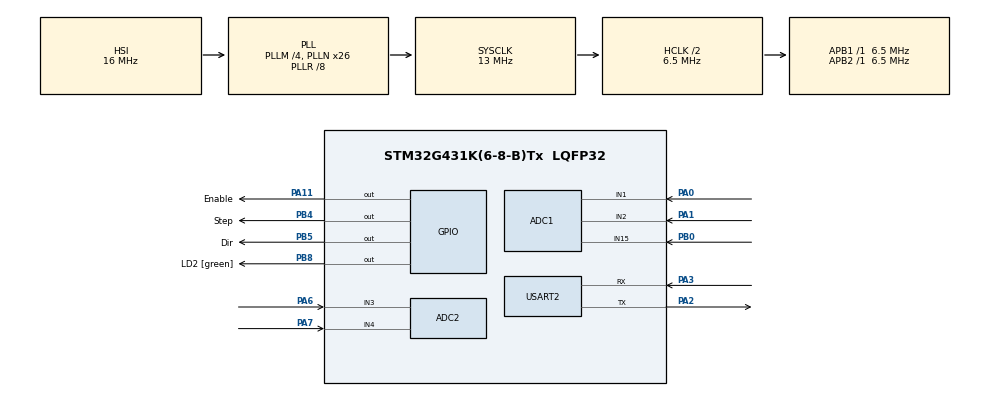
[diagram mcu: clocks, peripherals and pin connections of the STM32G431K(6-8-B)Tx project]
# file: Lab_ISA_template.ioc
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ADC1.Channel-0\#ChannelRegularConversion=ADC_CHANNEL_1
ADC1.Channel-1\#ChannelRegularConversion=ADC_CHANNEL_10
ADC1.Channel-2\#ChannelRegularConversion=ADC_CHANNEL_15
ADC1.ClockPrescaler=ADC_CLOCK_ASYNC_DIV1
ADC1.DMAAccessModeView=ENABLE
ADC1.DMAContinuousRequests=ENABLE
ADC1.ExternalTrigConv=ADC_EXTERNALTRIG_T7_TRGO
ADC1.Mode=ADC_DUALMODE_REGSIMULT
ADC1.NbrOfConversion=3
ADC1.NbrOfConversionFlag=1
ADC1.OffsetNumber-0\#ChannelRegularConversion=ADC_OFFSET_NONE
ADC1.OffsetNumber-1\#ChannelRegularConversion=ADC_OFFSET_NONE
ADC1.OffsetNumber-2\#ChannelRegularConversion=ADC_OFFSET_NONE
ADC1.OversamplingMode=ENABLE
ADC1.Rank-0\#ChannelRegularConversion=1
ADC1.Rank-1\#ChannelRegularConversion=2
ADC1.Rank-2\#ChannelRegularConversion=3
ADC1.Ratio=ADC_OVERSAMPLING_RATIO_8
ADC1.RightBitShift=ADC_RIGHTBITSHIFT_3
ADC1.SamplingTime-0\#ChannelRegularConversion=ADC_SAMPLETIME_640CYCLES_5
ADC1.SamplingTime-1\#ChannelRegularConversion=ADC_SAMPLETIME_640CYCLES_5
ADC1.SamplingTime-2\#ChannelRegularConversion=ADC_SAMPLETIME_640CYCLES_5
ADC1.SingleDiff-0\#ChannelRegularConversion=ADC_DIFFERENTIAL_ENDED
ADC1.master=1
ADC2.Channel-0\#ChannelRegularConversion=ADC_CHANNEL_3
ADC2.Channel-1\#ChannelRegularConversion=ADC_CHANNEL_10
ADC2.Channel-2\#ChannelRegularConversion=ADC_CHANNEL_17
ADC2.ClockPrescaler=ADC_CLOCK_ASYNC_DIV1
ADC2.DMAAccessModeView=ENABLE
ADC2.DMAContinuousRequests=ENABLE
ADC2.Mode=ADC_DUALMODE_REGSIMULT
ADC2.NbrOfConversion=3
ADC2.NbrOfConversionFlag=1
ADC2.OffsetNumber-0\#ChannelRegularConversion=ADC_OFFSET_NONE
ADC2.OffsetNumber-1\#ChannelRegularConversion=ADC_OFFSET_NONE
ADC2.OffsetNumber-2\#ChannelRegularConversion=ADC_OFFSET_NONE
ADC2.OversamplingMode=ENABLE
ADC2.Rank-0\#ChannelRegularConversion=1
ADC2.Rank-1\#ChannelRegularConversion=2
ADC2.Rank-2\#ChannelRegularConversion=3
ADC2.Ratio=ADC_OVERSAMPLING_RATIO_8
ADC2.RightBitShift=ADC_RIGHTBITSHIFT_3
ADC2.SamplingTime-0\#ChannelRegularConversion=ADC_SAMPLETIME_640CYCLES_5
ADC2.SamplingTime-1\#ChannelRegularConversion=ADC_SAMPLETIME_640CYCLES_5
ADC2.SamplingTime-2\#ChannelRegularConversion=ADC_SAMPLETIME_640CYCLES_5
ADC2.SingleDiff-0\#ChannelRegularConversion=ADC_DIFFERENTIAL_ENDED
Dma.ADC1.0.Direction=DMA_PERIPH_TO_MEMORY
Dma.ADC1.0.EventEnable=DISABLE
Dma.ADC1.0.Instance=DMA1_Channel1
Dma.ADC1.0.MemDataAlignment=DMA_MDATAALIGN_WORD
Dma.ADC1.0.MemInc=DMA_MINC_ENABLE
Dma.ADC1.0.Mode=DMA_CIRCULAR
Dma.ADC1.0.PeriphDataAlignment=DMA_PDATAALIGN_WORD
Dma.ADC1.0.PeriphInc=DMA_PINC_DISABLE
Dma.ADC1.0.Polarity=HAL_DMAMUX_REQ_GEN_RISING
Dma.ADC1.0.Priority=DMA_PRIORITY_LOW
Dma.ADC1.0.RequestNumber=1
Dma.ADC1.0.SignalID=NONE
Dma.ADC1.0.SyncEnable=DISABLE
Dma.ADC1.0.SyncPolarity=HAL_DMAMUX_SYNC_NO_EVENT
Dma.ADC1.0.SyncRequestNumber=1
Dma.ADC1.0.SyncSignalID=NONE
Dma.ADC2.1.Direction=DMA_PERIPH_TO_MEMORY
Dma.ADC2.1.EventEnable=DISABLE
Dma.ADC2.1.Instance=DMA1_Channel2
Dma.ADC2.1.MemDataAlignment=DMA_MDATAALIGN_WORD
Dma.ADC2.1.MemInc=DMA_MINC_ENABLE
Dma.ADC2.1.Mode=DMA_CIRCULAR
Dma.ADC2.1.PeriphDataAlignment=DMA_PDATAALIGN_WORD
Dma.ADC2.1.PeriphInc=DMA_PINC_DISABLE
Dma.ADC2.1.Polarity=HAL_DMAMUX_REQ_GEN_RISING
Dma.ADC2.1.Priority=DMA_PRIORITY_LOW
Dma.ADC2.1.RequestNumber=1
Dma.ADC2.1.SignalID=NONE
Dma.ADC2.1.SyncEnable=DISABLE
Dma.ADC2.1.SyncPolarity=HAL_DMAMUX_SYNC_NO_EVENT
Dma.ADC2.1.SyncRequestNumber=1
Dma.ADC2.1.SyncSignalID=NONE
Dma.Request0=ADC1
Dma.Request1=ADC2
Mcu.Family=STM32G4
Mcu.Name=STM32G431K(6-8-B)Tx
Mcu.Package=LQFP32
NVIC.ADC1_2_IRQn=true\:0\:0\:false\:false\:true\:true\:true\:true
NVIC.DMA1_Channel1_IRQn=true\:0\:0\:false\:false\:true\:false\:true\:true
NVIC.DMA1_Channel2_IRQn=true\:0\:0\:false\:false\:true\:false\:true\:true
NVIC.PriorityGroup=NVIC_PRIORITYGROUP_4
NVIC.TIM1_TRG_COM_TIM17_IRQn=true\:0\:0\:false\:false\:true\:true\:true\:true
NVIC.TIM4_IRQn=true\:0\:0\:false\:false\:true\:true\:true\:true
NVIC.TIM6_DAC_IRQn=true\:0\:0\:false\:false\:true\:true\:true\:true
NVIC.TIM7_IRQn=true\:0\:0\:false\:false\:true\:true\:true\:true
NVIC.USART2_IRQn=true\:0\:0\:false\:false\:true\:true\:true\:true
PA0.Mode=IN1-Differential
PA0.Signal=ADC1_IN1
PA1.Mode=IN1-Differential
PA1.Signal=ADC1_IN2
PA11.GPIO_Label=Enable
PA11.Signal=GPIO_Output
PA13.GPIO_Label=T_SWDIO
PA13.Mode=Serial_Wire
PA13.Signal=SYS_JTMS-SWDIO
PA14.GPIO_Label=T_SWCLK
PA14.Mode=Serial_Wire
PA14.Signal=SYS_JTCK-SWCLK
PA2.Mode=Asynchronous
PA2.Signal=USART2_TX
PA3.Mode=Asynchronous
PA3.Signal=USART2_RX
PA6.Mode=IN3-Differential
PA6.Signal=ADC2_IN3
PA7.Mode=IN3-Differential
PA7.Signal=ADC2_IN4
PB0.Mode=IN15-Single-Ended
PB0.Signal=ADC1_IN15
PB4.GPIO_Label=Step
PB4.Signal=GPIO_Output
PB5.GPIO_Label=Dir
PB5.Signal=GPIO_Output
PB8-BOOT0.GPIO_Label=LD2 [green]
PB8-BOOT0.Signal=GPIO_Output
ProjectManager.HeapSize=0x200
ProjectManager.StackSize=0x400
ProjectManager.TargetToolchain=CMake
RCC.ADC12CLockSelection=RCC_ADC12CLKSOURCE_PLL
RCC.ADC12Freq_Value=52000000
RCC.AHBCLKDivider=RCC_SYSCLK_DIV2
RCC.AHBFreq_Value=6500000
RCC.APB1Freq_Value=6500000
RCC.APB1TimFreq_Value=6500000
RCC.APB2Freq_Value=6500000
RCC.APB2TimFreq_Value=6500000
RCC.CortexFreq_Value=6500000
RCC.EXTERNAL_CLOCK_VALUE=12288000
RCC.FDCANCLockSelection=RCC_FDCANCLKSOURCE_PLL
RCC.HCLKFreq_Value=6500000
RCC.HSE_VALUE=8000000
RCC.HSI48_VALUE=48000000
RCC.HSI_VALUE=16000000
RCC.LSE_VALUE=32768
RCC.PLLM=RCC_PLLM_DIV4
RCC.PLLN=26
RCC.PLLQ=RCC_PLLQ_DIV8
RCC.PLLR=RCC_PLLR_DIV8
RCC.PWR_Regulator_Voltage_Scale=PWR_REGULATOR_VOLTAGE_SCALE1
RCC.SYSCLKFreq_VALUE=13000000
RCC.SYSCLKSource=RCC_SYSCLKSOURCE_PLLCLK
RCC.USBFreq_Value=13000000
RCC.VCOOutputFreq_Value=104000000
TIM17.PeriodNoDither=300-1
TIM17.Prescaler=10-1
TIM4.PeriodNoDither=2000-1
TIM4.Prescaler=650-1
TIM7.PeriodNoDither=10000-1
TIM7.Prescaler=13-1
TIM7.TIM_MasterOutputTrigger=TIM_TRGO_UPDATE
USART2.VirtualMode-Asynchronous=VM_ASYNC
VP_SYS_VS_DBSignals.Mode=DisableDeadBatterySignals
VP_TIM17_VS_ClockSourceINT.Mode=Enable_Timer
VP_TIM4_VS_ClockSourceINT.Mode=Internal
VP_TIM6_VS_ClockSourceINT.Mode=Enable_Timer
VP_TIM7_VS_ClockSourceINT.Mode=Enable_Timer
board=NUCLEO-G431KB

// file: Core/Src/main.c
/* USER CODE BEGIN Header */
/**
  ******************************************************************************
  * @file           : main.c
  * @brief          : Main program body
  ******************************************************************************
  * @attention
  *
  * <h2><center>&copy; Copyright (c) 2022 STMicroelectronics.
  * All rights reserved.</center></h2>
  *
  * This software component is licensed by ST under BSD 3-Clause license,
  * the "License"; You may not use this file except in compliance with the
  * License. You may obtain a copy of the License at:
  *                        opensource.org/licenses/BSD-3-Clause
  *
  ******************************************************************************
   	PROJECT: 	Laboratory - ISA template
	Author:		Prof. Dr. Jannis Kreß
	ECU:		STM32 NUCLEO-G431KB
	Version:	1

    Info: After initialization of Peripherals the core is set to sleep mode.
	HAL_ADC_ConvCpltCallback is called when new data is available to be processed.
	Processing of Sensor-Values will be done in this Handler (no active main loop)
  */

/* USER CODE END Header */
#include "main.h"

/* USER CODE BEGIN Includes */
#include "math.h"		// for use of standard math functions
#include "stdlib.h"		// for use of abs() function
#include "stdbool.h"	// for use of true/false states
#include "string.h"
#include "stdio.h"
#include "SEGGER_RTT.h"
/* USER CODE END Includes */

/* USER CODE BEGIN PTD */

enum StepperMode {
	MODE_IDLE = 0,
	MODE_VELOCITY,
	MODE_POSITION
};

struct StepperState {
	enum StepperMode mode;
	int32_t current_pos;        // microsteps from calibrated zero
	float motor_angle_deg;      // derived from current_pos
	float amr_angle_deg;        // from AMR sensor
	float target_angle_deg;     // position mode target
	int32_t steps_remaining;    // position mode: steps left to go
	int32_t steps_total;        // position mode: total steps for this move (for ramp calc)
	int16_t velocity_pct;       // velocity %*100, range +-10000
	uint16_t current_arr;       // current timer ARR value
	bool enabled;               // motor driver enabled
	bool calibrated;            // zero calibration done
	int8_t direction;           // +1 or -1
};

/* UART RX ring buffer */
#define UART_RX_BUF_SIZE 128
struct UartRxBuf {
	uint8_t data[UART_RX_BUF_SIZE];
	volatile uint16_t head;
	volatile uint16_t tail;
	volatile bool ring_overflow;
	volatile uint32_t error_code;
};

/* UART TX buffer */
#define UART_TX_BUF_SIZE 256

/* USER CODE END PTD */

/* USER CODE BEGIN PD */

#define RAD_TO_DEG (180.0f / M_PI)

/* Stepper motor constants */
#define STEP_ANGLE_DEG       1.8f
#define MICROSTEP_FACTOR     64
#define STEPS_PER_REV        (uint32_t)((360.0f / STEP_ANGLE_DEG) * MICROSTEP_FACTOR)  // 12800
#define DEG_PER_MICROSTEP    (360.0f / STEPS_PER_REV)

#define F_TIMER              650000UL   // Timer 17 counter frequency after prescaler
#define ARR_DEFAULT          299
#define ARR_MIN              10         // max speed clamp
#define ARR_MAX              65535      // min speed (16-bit limit)
#define MAX_SPEED_RPS        1.5f       // motor spec limit

/* Position mode ramp */
#define RAMP_MIN_STEPS       100        // minimum steps before starting decel
#define RAMP_START_ARR       3000       // slow start ARR
#define RAMP_CRUISE_ARR      299        // full speed ARR
#define RAMP_ACCEL_STEPS     200        // steps over which to accelerate

/* Valid angle range */
#define ANGLE_MIN_DEG        2.0f
#define ANGLE_MAX_DEG        178.0f
#define POSITION_MIN_STEPS   ((int32_t)(ANGLE_MIN_DEG / DEG_PER_MICROSTEP))
#define POSITION_MAX_STEPS   ((int32_t)(ANGLE_MAX_DEG / DEG_PER_MICROSTEP))

/* UART protocol */
#define CMD_HEADER           "|SuA|"
#define CMD_HEADER_LEN       5
#define CMD_MODE_INDEX       CMD_HEADER_LEN
#define CMD_ARG_START_INDEX  (CMD_HEADER_LEN + 2)

/* Telemetry rate: send every N ADC callbacks (~500 Hz ADC → 25 Hz telemetry at divisor 20) */
#define TELEMETRY_DIVISOR    20

/* USER CODE END PD */

ADC_HandleTypeDef hadc1;
ADC_HandleTypeDef hadc2;
DMA_HandleTypeDef hdma_adc1;
DMA_HandleTypeDef hdma_adc2;

TIM_HandleTypeDef htim4;
TIM_HandleTypeDef htim6;
TIM_HandleTypeDef htim7;
TIM_HandleTypeDef htim17;

UART_HandleTypeDef huart2;

/* USER CODE BEGIN PV */
/*VARIABLES******************************************************************/
struct ADC_Values {
	uint16_t SIN1;
	uint16_t COS1;
	uint16_t VDIAG1;
};
struct AMR_MinMax {
	uint16_t sin_min;
	uint16_t sin_max;
	uint16_t cos_min;
	uint16_t cos_max;
};
struct AMR_CalibParams {
	float sin_offset;
	float sin_amplitude;
	float cos_offset;
	float cos_amplitude;
};

struct AMR_Normalized {
	float sin;
	float cos;
};
struct XY_Values {
	float Y1;
	float X1;
};

/* Global variables************************************************************/
uint16_t adcVal[8];
struct ADC_Values ADCresult;
struct XY_Values XYresult;

// struct AMR_MinMax amr_minmax = {
//   .sin_min = UINT16_MAX,
//   .sin_max = 0,
//   .cos_min = UINT16_MAX,
//   .cos_max = 0
// };

// L1.3
struct AMR_MinMax amr_minmax = {
  .sin_min = 634,
  .sin_max = 3493,
  .cos_min = 706,
  .cos_max = 3494
};

struct AMR_CalibParams amr_calib;
struct AMR_Normalized amr_normalized;

float amr_angle_deg_raw = 0.0f;
const float amr_angle_deg_offset = 79.6f + 8.1f + 20.0f;
float amr_angle_deg = 0.0f;

/* Stepper state — visible in debugger */
volatile struct StepperState stepper = {
	.mode = MODE_IDLE,
	.current_pos = 0,
	.motor_angle_deg = 0.0f,
	.amr_angle_deg = 0.0f,
	.target_angle_deg = 0.0f,
	.steps_remaining = 0,
	.steps_total = 0,
	.velocity_pct = 0,
	.current_arr = ARR_DEFAULT,
	.enabled = false,
	.calibrated = false,
	.direction = 1
};

/* UART */
struct UartRxBuf uart_rx = { .head = 0, .tail = 0, .ring_overflow = false, .error_code = 0 };
char uart_tx_buf[UART_TX_BUF_SIZE];

/* Command parse buffer */
#define CMD_BUF_SIZE 64
char cmd_buf[CMD_BUF_SIZE];
uint8_t cmd_buf_pos = 0;

/* Telemetry counter */
uint32_t telemetry_counter = 0;
volatile bool telemetry_due = false;

/* USER CODE END PV */

void SystemClock_Config(void);
static void MX_GPIO_Init(void);
static void MX_DMA_Init(void);
static void MX_ADC1_Init(void);
static void MX_ADC2_Init(void);
static void MX_TIM7_Init(void);
static void MX_TIM4_Init(void);
static void MX_TIM6_Init(void);
static void MX_TIM17_Init(void);
static void MX_USART2_UART_Init(void);
/* USER CODE BEGIN PFP */

/*Private Function Prototypes**************************************************/
void calibrateADCs(void);					// calibrating ADC
struct ADC_Values getDMAValues(const uint16_t *dma_values);	// reading ADC values from direct memory access

void amr_update_minmax(struct AMR_MinMax *minmax, uint16_t sin_val, uint16_t cos_val);
struct AMR_CalibParams amr_compute_calibration(const struct AMR_MinMax *minmax);
struct AMR_Normalized amr_normalize(uint16_t sin_val, uint16_t cos_val, const struct AMR_CalibParams *calib);
float amr_calculate_angle(float sin_norm, float cos_norm);

/* UART */
void uart_send(const char *str);
void uart_handle_irq(void);
void uart_process_rx(void);
void parse_command(const char *cmd, uint8_t len);
bool command_frame_complete(const char *cmd, uint8_t len);
bool parse_i32_field(const char *cmd, uint8_t len, uint8_t *index, int32_t *value);
void log_command_result(const char *cmd, const char *status, const char *reason);

/* Stepper control */
void stepper_set_enabled(bool en);
void stepper_set_direction(int8_t dir);
void stepper_start_velocity(int16_t pct);
void stepper_start_position(float target_deg, uint16_t max_speed_pct);
void stepper_start_calibration(float cal_angle_deg);
void stepper_stop(void);
void stepper_update_motor_angle(void);
bool stepper_can_step(int8_t dir);
uint16_t speed_pct_to_arr(uint16_t pct);

/* Telemetry */
void send_telemetry(void);

/* USER CODE END PFP */

/* USER CODE BEGIN 0 */

void calibrateADCs(void){
	/*INFOBOX: (CLICK TO OPEN)
	 * This function calibrates the ADC module. Calibration must not be executed while ADC is active.
	 * Calibration called in int main before ADC is activated.
	 */

	if (HAL_ADCEx_Calibration_Start(&hadc1, ADC_SINGLE_ENDED) != HAL_OK)		// calibrate ADC1 - single mode
	{
		Error_Handler();
	}
	if (HAL_ADCEx_Calibration_Start(&hadc1, ADC_DIFFERENTIAL_ENDED) != HAL_OK)	// calibrate ADC1 - differential mode
	{
		Error_Handler();
	}
	if (HAL_ADCEx_Calibration_Start(&hadc2, ADC_SINGLE_ENDED) != HAL_OK)		// calibrate ADC2 - single mode
	{
		Error_Handler();
	}
	if (HAL_ADCEx_Calibration_Start(&hadc2, ADC_DIFFERENTIAL_ENDED) != HAL_OK)	// calibrate ADC2 - differential mode
	{
		Error_Handler();
	}
}

struct ADC_Values getDMAValues(const uint16_t *dma_values){
	/*INFOBOX: (CLICK TO OPEN)
	 * This function reads ADC values directly from DMA (RAM) and stores them into result struct for
	 * better readability/handling.
	 */
	struct ADC_Values result;

	result.SIN1 = dma_values[I_SIN1];			//fill struct with ADC values from DMA Array
	result.COS1 = dma_values[I_COS1];
	result.VDIAG1 = dma_values[I_VDIAG1];
	return result;
}

void amr_update_minmax(struct AMR_MinMax *minmax, uint16_t sin_val, uint16_t cos_val) {
  if (sin_val < minmax->sin_min) minmax->sin_min = sin_val;
  if (sin_val > minmax->sin_max) minmax->sin_max = sin_val;
  if (cos_val < minmax->cos_min) minmax->cos_min = cos_val;
  if (cos_val > minmax->cos_max) minmax->cos_max = cos_val;
}

struct AMR_CalibParams amr_compute_calibration(const struct AMR_MinMax *minmax) {
	struct AMR_CalibParams result;

	/* Amplitude */
	result.cos_amplitude = (float)(minmax->cos_max - minmax->cos_min) / 2.0f;
	result.sin_amplitude = (float)(minmax->sin_max - minmax->sin_min) / 2.0f;

	/* Offset */
	result.cos_offset = (float)(minmax->cos_max + minmax->cos_min) / 2.0f;
	result.sin_offset = (float)(minmax->sin_max + minmax->sin_min) / 2.0f;
	return result;
}

/*
 * Task 2b: Normalization
 * Returns: range [-1, 1].
 */
struct AMR_Normalized amr_normalize(uint16_t sin_val, uint16_t cos_val, const struct AMR_CalibParams *calib) {
	struct AMR_Normalized result;
	result.sin = ((float)sin_val - calib->sin_offset) / calib->sin_amplitude;
	result.cos = ((float)cos_val - calib->cos_offset) / calib->cos_amplitude;
	return result;
}

/*
 * Task 3: Angle Calculation
 */
float amr_calculate_angle(float sin_norm, float cos_norm) {
	/* atan2: returns [-pi, pi] */
	float angle_rad = atan2f(sin_norm, cos_norm);

	/* Convert to degrees */
	float angle_deg = angle_rad * RAD_TO_DEG;

  /* Bring into range [0, 360] */
	if (angle_deg < 0.0f) {
		angle_deg += 360.0f;
	}

	/* A full rotation of the sensor is only 180° mechanically */
	return angle_deg / 2.0f;
}

void uart_send(const char *str) {
	HAL_UART_Transmit(&huart2, (uint8_t *)str, strlen(str), 50);
}

void uart_handle_irq(void) {
	uint32_t isr = USART2->ISR;

	if (isr & USART_ISR_ORE) {
		USART2->ICR = USART_ICR_ORECF;
		uart_rx.error_code |= HAL_UART_ERROR_ORE;
	}
	if (isr & USART_ISR_FE) {
		USART2->ICR = USART_ICR_FECF;
	}
	if (isr & USART_ISR_NE) {
		USART2->ICR = USART_ICR_NECF;
	}

	while (USART2->ISR & USART_ISR_RXNE_RXFNE) {
		uint8_t byte = (uint8_t)(USART2->RDR & 0xFF);
		uint16_t next_head = (uart_rx.head + 1) % UART_RX_BUF_SIZE;
		if (next_head != uart_rx.tail) {
			uart_rx.data[uart_rx.head] = byte;
			uart_rx.head = next_head;
		} else {
			uart_rx.ring_overflow = true;
		}
	}
}

/*==========================================================================
 * UART command parser
 *
 * Protocol: |SuA|<cmd>|<args...>| followed by LF or CRLF
 * V: |SuA|V|±NNNNN|           velocity %*100
 * P: |SuA|P|±NNNNN|NNNNN|     position 0.01deg, max speed %*100
 * C: |SuA|C|NNNNN|            set current position reference to angle 0.01deg
 * E: |SuA|E|0| or |SuA|E|1|  enable/disable
 *==========================================================================*/

void uart_process_rx(void) {
	if (uart_rx.ring_overflow) {
		uart_rx.ring_overflow = false;
		uart_rx.tail = uart_rx.head;
		cmd_buf_pos = 0;
		log_command_result("", "ERROR", "rx ring overflow");
	}

	if (uart_rx.error_code != 0) {
		uint32_t error_code = uart_rx.error_code;
		uart_rx.error_code = 0;
		cmd_buf_pos = 0;
		char reason[32];
		snprintf(reason, sizeof(reason), "uart error 0x%08lX", error_code);
		log_command_result("", "ERROR", reason);
	}

	while (uart_rx.tail != uart_rx.head) {
		char c = uart_rx.data[uart_rx.tail];
		uart_rx.tail = (uart_rx.tail + 1) % UART_RX_BUF_SIZE;

		if (c == '\r' || c == '\n') {
			if (cmd_buf_pos > 0) {
				cmd_buf[cmd_buf_pos] = '\0';
				parse_command(cmd_buf, cmd_buf_pos);
				cmd_buf_pos = 0;
			}
			continue;
		}

		if (cmd_buf_pos < CMD_BUF_SIZE - 1) {
			cmd_buf[cmd_buf_pos++] = c;
			if (command_frame_complete(cmd_buf, cmd_buf_pos)) {
				cmd_buf[cmd_buf_pos] = '\0';
				parse_command(cmd_buf, cmd_buf_pos);
				cmd_buf_pos = 0;
			}
		} else {
			cmd_buf[cmd_buf_pos] = '\0';
			log_command_result(cmd_buf, "ERROR", "command too long");
			cmd_buf_pos = 0;
		}
	}
}

bool command_frame_complete(const char *cmd, uint8_t len) {
	if (len < CMD_ARG_START_INDEX + 2) {
		return false;
	}
	if (memcmp(cmd, CMD_HEADER, CMD_HEADER_LEN) != 0) {
		return false;
	}
	if (cmd[CMD_MODE_INDEX + 1] != '|') {
		return false;
	}
	if (cmd[len - 1] != '|') {
		return false;
	}

	uint8_t expected_pipes;
	switch (cmd[CMD_MODE_INDEX]) {
	case 'P':
		expected_pipes = 5;
		break;
	case 'V':
	case 'C':
	case 'E':
		expected_pipes = 4;
		break;
	default:
		return false;
	}

	uint8_t pipes = 0;
	for (uint8_t i = 0; i < len; i++) {
		if (cmd[i] == '|') {
			pipes++;
		}
	}
	return pipes >= expected_pipes;
}

void log_command_result(const char *cmd, const char *status, const char *reason) {
	SEGGER_RTT_printf(0, "CMD %s -> %s", cmd, status);
	if (reason != NULL && reason[0] != '\0') {
		SEGGER_RTT_printf(0, " (%s)", reason);
	}
	SEGGER_RTT_WriteString(0, "\r\n");

	int len = snprintf(uart_tx_buf, UART_TX_BUF_SIZE,
		"{\"event\":\"cmd\",\"status\":\"%s\",\"reason\":\"%s\"}\n",
		status,
		(reason != NULL) ? reason : "");
	if (len > 0 && len < UART_TX_BUF_SIZE) {
		uart_send(uart_tx_buf);
	}
}

bool parse_i32_field(const char *cmd, uint8_t len, uint8_t *index, int32_t *value) {
	if (*index >= len) {
		return false;
	}

	int32_t sign = 1;
	if (cmd[*index] == '-') {
		sign = -1;
		(*index)++;
	} else if (cmd[*index] == '+') {
		(*index)++;
	}

	if (*index >= len || cmd[*index] < '0' || cmd[*index] > '9') {
		return false;
	}

	int32_t parsed = 0;
	while (*index < len && cmd[*index] >= '0' && cmd[*index] <= '9') {
		parsed = parsed * 10 + (cmd[*index] - '0');
		(*index)++;
	}

	if (*index >= len || cmd[*index] != '|') {
		return false;
	}
	(*index)++;

	*value = sign * parsed;
	return true;
}

void parse_command(const char *cmd, uint8_t len) {
	if (len < CMD_ARG_START_INDEX + 2) {
		log_command_result(cmd, "ERROR", "command too short");
		return;
	}

	if (memcmp(cmd, CMD_HEADER, CMD_HEADER_LEN) != 0) {
		log_command_result(cmd, "ERROR", "invalid header");
		return;
	}

	char mode = cmd[CMD_MODE_INDEX];
	if (cmd[CMD_MODE_INDEX + 1] != '|') {
		log_command_result(cmd, "ERROR", "missing command separator");
		return;
	}

	switch (mode) {
	case 'V': {
		/* |SuA|V|±NNNNN| */
		int32_t vel = 0;
		uint8_t index = CMD_ARG_START_INDEX;
		if (!parse_i32_field(cmd, len, &index, &vel) || index != len) {
			log_command_result(cmd, "ERROR", "invalid velocity format");
		} else if (vel < -10000 || vel > 10000) {
			log_command_result(cmd, "ERROR", "velocity out of range");
		} else if (vel != 0 && !stepper.calibrated) {
			log_command_result(cmd, "ERROR", "not calibrated");
		} else if (vel != 0 && !stepper.enabled) {
			log_command_result(cmd, "ERROR", "motor disabled");
		} else if (vel != 0 && !stepper_can_step(vel > 0 ? 1 : -1)) {
			log_command_result(cmd, "ERROR", "software end stop");
		} else {
			stepper_start_velocity((int16_t)vel);
			log_command_result(cmd, "OK", "");
		}
		break;
	}
	case 'P': {
		/* |SuA|P|±NNNNN|NNNNN| */
		int32_t pos = 0;
		int32_t spd = 0;
		uint8_t index = CMD_ARG_START_INDEX;
		if (!parse_i32_field(cmd, len, &index, &pos) ||
		    !parse_i32_field(cmd, len, &index, &spd) ||
		    index != len) {
			log_command_result(cmd, "ERROR", "invalid position format");
		} else if (!stepper.enabled) {
			log_command_result(cmd, "ERROR", "motor disabled");
		} else if (!stepper.calibrated) {
			log_command_result(cmd, "ERROR", "not calibrated");
		} else if (pos < (int32_t)(ANGLE_MIN_DEG * 100.0f) || pos > (int32_t)(ANGLE_MAX_DEG * 100.0f)) {
			log_command_result(cmd, "ERROR", "position out of range");
		} else if (spd < 0 || spd > 10000) {
			log_command_result(cmd, "ERROR", "speed out of range");
		} else {
			float target = (float)pos / 100.0f;
			uint16_t max_spd = (spd > 10000) ? 10000 : (spd < 100 ? 100 : (uint16_t)spd);
			stepper_start_position(target, max_spd);
			log_command_result(cmd, "OK", "");
		}
		break;
	}
	case 'C': {
		/* |SuA|C|NNNNN| */
		int32_t cal = 0;
		uint8_t index = CMD_ARG_START_INDEX;
		if (!parse_i32_field(cmd, len, &index, &cal) || index != len) {
			log_command_result(cmd, "ERROR", "invalid calibration format");
		} else if (cal < (int32_t)(ANGLE_MIN_DEG * 100.0f) || cal > (int32_t)(ANGLE_MAX_DEG * 100.0f)) {
			log_command_result(cmd, "ERROR", "calibration angle out of range");
		} else {
			float cal_deg = (float)cal / 100.0f;
			stepper_start_calibration(cal_deg);
			log_command_result(cmd, "OK", "");
		}
		break;
	}
	case 'E': {
		/* |SuA|E|0| or |SuA|E|1| */
		int32_t en = 0;
		uint8_t index = CMD_ARG_START_INDEX;
		if (!parse_i32_field(cmd, len, &index, &en) || index != len) {
			log_command_result(cmd, "ERROR", "invalid enable format");
		} else if (en != 0 && en != 1) {
			log_command_result(cmd, "ERROR", "enable must be 0 or 1");
		} else {
			stepper_set_enabled(en != 0);
			log_command_result(cmd, "OK", "");
		}
		break;
	}
	default:
		log_command_result(cmd, "ERROR", "unknown command");
		break;
	}
}

/*==========================================================================
 * Stepper motor control
 *==========================================================================*/

uint16_t speed_pct_to_arr(uint16_t pct) {
	/* pct is %*100, range 0..10000 (0% to 100%) */
	if (pct == 0) return ARR_MAX;
	/* Map pct linearly: 100% → ARR_MIN, ~1% → ARR_MAX */
	float n = MAX_SPEED_RPS * ((float)pct / 10000.0f);
	float arr_f = (float)F_TIMER / (2.0f * n * STEPS_PER_REV) - 1.0f;
	if (arr_f < ARR_MIN) return ARR_MIN;
	if (arr_f > ARR_MAX) return ARR_MAX;
	return (uint16_t)arr_f;
}

void stepper_update_motor_angle(void) {
	stepper.motor_angle_deg = (float)stepper.current_pos * DEG_PER_MICROSTEP;
}

bool stepper_can_step(int8_t dir) {
	if (!stepper.calibrated) return false;
	if (dir > 0 && stepper.current_pos >= POSITION_MAX_STEPS) return false;
	if (dir < 0 && stepper.current_pos <= POSITION_MIN_STEPS) return false;
	return true;
}

void stepper_set_enabled(bool en) {
	stepper.enabled = en;
	HAL_GPIO_WritePin(Enable_GPIO_Port, Enable_Pin, en ? GPIO_PIN_RESET : GPIO_PIN_SET);
	if (!en) {
		stepper.mode = MODE_IDLE;
		stepper.steps_remaining = 0;
		stepper.velocity_pct = 0;
	}
}

void stepper_set_direction(int8_t dir) {
	stepper.direction = dir;
	HAL_GPIO_WritePin(Dir_GPIO_Port, Dir_Pin, dir > 0 ? GPIO_PIN_RESET : GPIO_PIN_SET);
}

void stepper_stop(void) {
	stepper.mode = MODE_IDLE;
	stepper.steps_remaining = 0;
	stepper.velocity_pct = 0;
}

void stepper_start_velocity(int16_t pct) {
	if (pct == 0) {
		stepper_stop();
		return;
	}

	if (!stepper.enabled || !stepper.calibrated) return;

	stepper.mode = MODE_VELOCITY;
	stepper.velocity_pct = pct;

	int8_t dir = (pct > 0) ? 1 : -1;
	if (!stepper_can_step(dir)) {
		stepper_stop();
		return;
	}

	stepper_set_direction(dir);

	uint16_t abs_pct = (uint16_t)(pct > 0 ? pct : -pct);
	stepper.current_arr = speed_pct_to_arr(abs_pct);
	__HAL_TIM_SET_AUTORELOAD(&htim17, stepper.current_arr);
}

void stepper_start_position(float target_deg, uint16_t max_speed_pct) {
	if (!stepper.enabled || !stepper.calibrated) return;

	if (target_deg < ANGLE_MIN_DEG) target_deg = ANGLE_MIN_DEG;
	if (target_deg > ANGLE_MAX_DEG) target_deg = ANGLE_MAX_DEG;

	stepper.target_angle_deg = target_deg;

	float delta_deg = target_deg - stepper.motor_angle_deg;
	int32_t steps = (int32_t)(delta_deg / DEG_PER_MICROSTEP);

	if (steps == 0) {
		stepper_stop();
		return;
	}

	stepper_set_direction(steps > 0 ? 1 : -1);
	stepper.steps_remaining = abs(steps);
	stepper.steps_total = stepper.steps_remaining;
	stepper.velocity_pct = (int16_t)max_speed_pct;
	stepper.mode = MODE_POSITION;

	/* Start slow */
	stepper.current_arr = RAMP_START_ARR;
	__HAL_TIM_SET_AUTORELOAD(&htim17, stepper.current_arr);
}

void stepper_start_calibration(float cal_angle_deg) {
	if (cal_angle_deg < ANGLE_MIN_DEG) cal_angle_deg = ANGLE_MIN_DEG;
	if (cal_angle_deg > ANGLE_MAX_DEG) cal_angle_deg = ANGLE_MAX_DEG;

	stepper_stop();
	stepper.target_angle_deg = cal_angle_deg;
	stepper.current_pos = (int32_t)(cal_angle_deg / DEG_PER_MICROSTEP);
	stepper_update_motor_angle();
	stepper.calibrated = true;
}

/*==========================================================================
 * Telemetry — JSON over UART
 *==========================================================================*/

void send_telemetry(void) {
	/* Build JSON by concatenation — no library needed.
	 * Angles in 0.01 deg (integer), velocity in %*100. */
	const char *mode_str;
	switch (stepper.mode) {
		case MODE_VELOCITY:    mode_str = "V"; break;
		case MODE_POSITION:    mode_str = "P"; break;
		default:               mode_str = "I"; break;
	}

	int32_t motor_cdeg = (int32_t)(stepper.motor_angle_deg * 100.0f);
	int32_t amr_cdeg = (int32_t)(stepper.amr_angle_deg * 100.0f);
	int32_t target_cdeg = (int32_t)(stepper.target_angle_deg * 100.0f);

	/* Compute steps/sec from current ARR */
	int32_t sps = 0;
	if (stepper.mode == MODE_VELOCITY || stepper.mode == MODE_POSITION) {
		sps = (int32_t)(F_TIMER / (2.0f * (stepper.current_arr + 1)));
	}

	int len = snprintf(uart_tx_buf, UART_TX_BUF_SIZE,
		"{\"mode\":\"%s\",\"motor\":%ld,\"amr\":%ld,\"target\":%ld,"
		"\"vel\":%d,\"sps\":%ld,\"en\":%d,\"cal\":%d,\"rem\":%ld}\n",
		mode_str, motor_cdeg, amr_cdeg, target_cdeg,
		stepper.velocity_pct, sps,
		stepper.enabled ? 1 : 0,
		stepper.calibrated ? 1 : 0,
		stepper.steps_remaining);

	if (len > 0 && len < UART_TX_BUF_SIZE)
		uart_send(uart_tx_buf);
}

/* USER CODE END 0 */

int main(void)
{

  /* MCU Configuration--------------------------------------------------------*/

  /* Reset of all peripherals, Initializes the Flash interface and the Systick. */
  HAL_Init();

  /* Configure the system clock */
  SystemClock_Config();

  /* Initialize all configured peripherals */
  MX_GPIO_Init();
  MX_DMA_Init();
  MX_ADC1_Init();
  MX_ADC2_Init();
  MX_TIM7_Init();
  MX_TIM4_Init();
  MX_TIM6_Init();
  MX_TIM17_Init();
  MX_USART2_UART_Init();
  /* USER CODE BEGIN 2 */

  /* Initialize user-defined Peripherals ***************************************************************/
  SEGGER_RTT_Init();
  SEGGER_RTT_WriteString(0, "RTT initialized\r\n");

  uart_send("{\"msg\":\"SuA stepper controller ready\"}\n");
  SEGGER_RTT_WriteString(0, "USART2 initialized\r\n");

  calibrateADCs();													// calibrate ADCs

  HAL_ADCEx_MultiModeStart_DMA(&hadc1, (uint32_t*)adcVal, 3);		// configure ADC mode
  HAL_TIM_Base_Start_IT(&htim7);									// start timer 7
  HAL_TIM_Base_Start_IT(&htim17);

  /* Motor disabled at startup */
  stepper_set_enabled(false);

  // stepper_set_enabled(true);
  // stepper_set_direction(1);

  // while(1) {

	// 		HAL_GPIO_TogglePin(Step_GPIO_Port, Step_Pin);
  //     HAL_Delay(10);
  // }

  /* USER CODE END 2 */

  /* Infinite loop */
  while (1)
  {

    /* USER CODE BEGIN 3 */
    uart_process_rx();
    if (telemetry_due) {
      telemetry_due = false;
      send_telemetry();
    }
  }
  /* USER CODE END 3 */
}

void SystemClock_Config(void)
{
  RCC_OscInitTypeDef RCC_OscInitStruct = {0};
  RCC_ClkInitTypeDef RCC_ClkInitStruct = {0};

  /** Configure the main internal regulator output voltage
  */
  HAL_PWREx_ControlVoltageScaling(PWR_REGULATOR_VOLTAGE_SCALE1);

  /** Initializes the RCC Oscillators according to the specified parameters
  * in the RCC_OscInitTypeDef structure.
  */
  RCC_OscInitStruct.OscillatorType = RCC_OSCILLATORTYPE_HSI;
  RCC_OscInitStruct.HSIState = RCC_HSI_ON;
  RCC_OscInitStruct.HSICalibrationValue = RCC_HSICALIBRATION_DEFAULT;
  RCC_OscInitStruct.PLL.PLLState = RCC_PLL_ON;
  RCC_OscInitStruct.PLL.PLLSource = RCC_PLLSOURCE_HSI;
  RCC_OscInitStruct.PLL.PLLM = RCC_PLLM_DIV4;
  RCC_OscInitStruct.PLL.PLLN = 26;
  RCC_OscInitStruct.PLL.PLLP = RCC_PLLP_DIV2;
  RCC_OscInitStruct.PLL.PLLQ = RCC_PLLQ_DIV8;
  RCC_OscInitStruct.PLL.PLLR = RCC_PLLR_DIV8;
  if (HAL_RCC_OscConfig(&RCC_OscInitStruct) != HAL_OK)
  {
    Error_Handler();
  }

  /** Initializes the CPU, AHB and APB buses clocks
  */
  RCC_ClkInitStruct.ClockType = RCC_CLOCKTYPE_HCLK|RCC_CLOCKTYPE_SYSCLK
                              |RCC_CLOCKTYPE_PCLK1|RCC_CLOCKTYPE_PCLK2;
  RCC_ClkInitStruct.SYSCLKSource = RCC_SYSCLKSOURCE_PLLCLK;
  RCC_ClkInitStruct.AHBCLKDivider = RCC_SYSCLK_DIV2;
  RCC_ClkInitStruct.APB1CLKDivider = RCC_HCLK_DIV1;
  RCC_ClkInitStruct.APB2CLKDivider = RCC_HCLK_DIV1;

  if (HAL_RCC_ClockConfig(&RCC_ClkInitStruct, FLASH_LATENCY_0) != HAL_OK)
  {
    Error_Handler();
  }
}

static void MX_ADC1_Init(void)
{

  ADC_MultiModeTypeDef multimode = {0};
  ADC_ChannelConfTypeDef sConfig = {0};

  /** Common config
  */
  hadc1.Instance = ADC1;
  hadc1.Init.ClockPrescaler = ADC_CLOCK_ASYNC_DIV1;
  hadc1.Init.Resolution = ADC_RESOLUTION_12B;
  hadc1.Init.DataAlign = ADC_DATAALIGN_RIGHT;
  hadc1.Init.GainCompensation = 0;
  hadc1.Init.ScanConvMode = ADC_SCAN_ENABLE;
  hadc1.Init.EOCSelection = ADC_EOC_SINGLE_CONV;
  hadc1.Init.LowPowerAutoWait = DISABLE;
  hadc1.Init.ContinuousConvMode = DISABLE;
  hadc1.Init.NbrOfConversion = 3;
  hadc1.Init.DiscontinuousConvMode = DISABLE;
  hadc1.Init.ExternalTrigConv = ADC_EXTERNALTRIG_T7_TRGO;
  hadc1.Init.ExternalTrigConvEdge = ADC_EXTERNALTRIGCONVEDGE_RISING;
  hadc1.Init.DMAContinuousRequests = ENABLE;
  hadc1.Init.Overrun = ADC_OVR_DATA_PRESERVED;
  hadc1.Init.OversamplingMode = ENABLE;
  hadc1.Init.Oversampling.Ratio = ADC_OVERSAMPLING_RATIO_8;
  hadc1.Init.Oversampling.RightBitShift = ADC_RIGHTBITSHIFT_3;
  hadc1.Init.Oversampling.TriggeredMode = ADC_TRIGGEREDMODE_SINGLE_TRIGGER;
  hadc1.Init.Oversampling.OversamplingStopReset = ADC_REGOVERSAMPLING_CONTINUED_MODE;
  if (HAL_ADC_Init(&hadc1) != HAL_OK)
  {
    Error_Handler();
  }

  /** Configure the ADC multi-mode
  */
  multimode.Mode = ADC_DUALMODE_REGSIMULT;
  multimode.DMAAccessMode = ADC_DMAACCESSMODE_12_10_BITS;
  multimode.TwoSamplingDelay = ADC_TWOSAMPLINGDELAY_1CYCLE;
  if (HAL_ADCEx_MultiModeConfigChannel(&hadc1, &multimode) != HAL_OK)
  {
    Error_Handler();
  }

  /** Configure Regular Channel
  */
  sConfig.Channel = ADC_CHANNEL_1;
  sConfig.Rank = ADC_REGULAR_RANK_1;
  sConfig.SamplingTime = ADC_SAMPLETIME_640CYCLES_5;
  sConfig.SingleDiff = ADC_DIFFERENTIAL_ENDED;
  sConfig.OffsetNumber = ADC_OFFSET_NONE;
  sConfig.Offset = 0;
  if (HAL_ADC_ConfigChannel(&hadc1, &sConfig) != HAL_OK)
  {
    Error_Handler();
  }

  /** Configure Regular Channel
  */
  sConfig.Channel = ADC_CHANNEL_10;
  sConfig.Rank = ADC_REGULAR_RANK_2;
  sConfig.SingleDiff = ADC_SINGLE_ENDED;
  if (HAL_ADC_ConfigChannel(&hadc1, &sConfig) != HAL_OK)
  {
    Error_Handler();
  }

  /** Configure Regular Channel
  */
  sConfig.Channel = ADC_CHANNEL_15;
  sConfig.Rank = ADC_REGULAR_RANK_3;
  if (HAL_ADC_ConfigChannel(&hadc1, &sConfig) != HAL_OK)
  {
    Error_Handler();
  }

}

static void MX_ADC2_Init(void)
{

  ADC_ChannelConfTypeDef sConfig = {0};

  /** Common config
  */
  hadc2.Instance = ADC2;
  hadc2.Init.ClockPrescaler = ADC_CLOCK_ASYNC_DIV1;
  hadc2.Init.Resolution = ADC_RESOLUTION_12B;
  hadc2.Init.DataAlign = ADC_DATAALIGN_RIGHT;
  hadc2.Init.GainCompensation = 0;
  hadc2.Init.ScanConvMode = ADC_SCAN_ENABLE;
  hadc2.Init.EOCSelection = ADC_EOC_SINGLE_CONV;
  hadc2.Init.LowPowerAutoWait = DISABLE;
  hadc2.Init.ContinuousConvMode = DISABLE;
  hadc2.Init.NbrOfConversion = 3;
  hadc2.Init.DiscontinuousConvMode = DISABLE;
  hadc2.Init.DMAContinuousRequests = ENABLE;
  hadc2.Init.Overrun = ADC_OVR_DATA_PRESERVED;
  hadc2.Init.OversamplingMode = ENABLE;
  hadc2.Init.Oversampling.Ratio = ADC_OVERSAMPLING_RATIO_8;
  hadc2.Init.Oversampling.RightBitShift = ADC_RIGHTBITSHIFT_3;
  hadc2.Init.Oversampling.TriggeredMode = ADC_TRIGGEREDMODE_SINGLE_TRIGGER;
  hadc2.Init.Oversampling.OversamplingStopReset = ADC_REGOVERSAMPLING_CONTINUED_MODE;
  if (HAL_ADC_Init(&hadc2) != HAL_OK)
  {
    Error_Handler();
  }

  /** Configure Regular Channel
  */
  sConfig.Channel = ADC_CHANNEL_3;
  sConfig.Rank = ADC_REGULAR_RANK_1;
  sConfig.SamplingTime = ADC_SAMPLETIME_640CYCLES_5;
  sConfig.SingleDiff = ADC_DIFFERENTIAL_ENDED;
  sConfig.OffsetNumber = ADC_OFFSET_NONE;
  sConfig.Offset = 0;
  if (HAL_ADC_ConfigChannel(&hadc2, &sConfig) != HAL_OK)
  {
    Error_Handler();
  }

  /** Configure Regular Channel
  */
  sConfig.Channel = ADC_CHANNEL_10;
  sConfig.Rank = ADC_REGULAR_RANK_2;
  sConfig.SingleDiff = ADC_SINGLE_ENDED;
  if (HAL_ADC_ConfigChannel(&hadc2, &sConfig) != HAL_OK)
  {
    Error_Handler();
  }

  /** Configure Regular Channel
  */
  sConfig.Channel = ADC_CHANNEL_17;
  sConfig.Rank = ADC_REGULAR_RANK_3;
  if (HAL_ADC_ConfigChannel(&hadc2, &sConfig) != HAL_OK)
  {
    Error_Handler();
  }

}

static void MX_TIM4_Init(void)
{

  TIM_ClockConfigTypeDef sClockSourceConfig = {0};
  TIM_MasterConfigTypeDef sMasterConfig = {0};

  htim4.Instance = TIM4;
  htim4.Init.Prescaler = 650-1;
  htim4.Init.CounterMode = TIM_COUNTERMODE_UP;
  htim4.Init.Period = 1999;
  htim4.Init.ClockDivision = TIM_CLOCKDIVISION_DIV1;
  htim4.Init.AutoReloadPreload = TIM_AUTORELOAD_PRELOAD_DISABLE;
  if (HAL_TIM_Base_Init(&htim4) != HAL_OK)
  {
    Error_Handler();
  }
  sClockSourceConfig.ClockSource = TIM_CLOCKSOURCE_INTERNAL;
  if (HAL_TIM_ConfigClockSource(&htim4, &sClockSourceConfig) != HAL_OK)
  {
    Error_Handler();
  }
  sMasterConfig.MasterOutputTrigger = TIM_TRGO_RESET;
  sMasterConfig.MasterSlaveMode = TIM_MASTERSLAVEMODE_DISABLE;
  if (HAL_TIMEx_MasterConfigSynchronization(&htim4, &sMasterConfig) != HAL_OK)
  {
    Error_Handler();
  }

}

static void MX_TIM6_Init(void)
{

  TIM_MasterConfigTypeDef sMasterConfig = {0};

  htim6.Instance = TIM6;
  htim6.Init.Prescaler = 0;
  htim6.Init.CounterMode = TIM_COUNTERMODE_UP;
  htim6.Init.Period = 65535;
  htim6.Init.AutoReloadPreload = TIM_AUTORELOAD_PRELOAD_DISABLE;
  if (HAL_TIM_Base_Init(&htim6) != HAL_OK)
  {
    Error_Handler();
  }
  sMasterConfig.MasterOutputTrigger = TIM_TRGO_RESET;
  sMasterConfig.MasterSlaveMode = TIM_MASTERSLAVEMODE_DISABLE;
  if (HAL_TIMEx_MasterConfigSynchronization(&htim6, &sMasterConfig) != HAL_OK)
  {
    Error_Handler();
  }

}

static void MX_TIM7_Init(void)
{

  TIM_MasterConfigTypeDef sMasterConfig = {0};

  htim7.Instance = TIM7;
  htim7.Init.Prescaler = 13-1;
  htim7.Init.CounterMode = TIM_COUNTERMODE_UP;
  htim7.Init.Period = 9999;
  htim7.Init.AutoReloadPreload = TIM_AUTORELOAD_PRELOAD_DISABLE;
  if (HAL_TIM_Base_Init(&htim7) != HAL_OK)
  {
    Error_Handler();
  }
  sMasterConfig.MasterOutputTrigger = TIM_TRGO_UPDATE;
  sMasterConfig.MasterSlaveMode = TIM_MASTERSLAVEMODE_DISABLE;
  if (HAL_TIMEx_MasterConfigSynchronization(&htim7, &sMasterConfig) != HAL_OK)
  {
    Error_Handler();
  }

}

static void MX_TIM17_Init(void)
{

  htim17.Instance = TIM17;
  htim17.Init.Prescaler = 10-1;
  htim17.Init.CounterMode = TIM_COUNTERMODE_UP;
  htim17.Init.Period = 299;
  htim17.Init.ClockDivision = TIM_CLOCKDIVISION_DIV1;
  htim17.Init.RepetitionCounter = 0;
  htim17.Init.AutoReloadPreload = TIM_AUTORELOAD_PRELOAD_DISABLE;
  if (HAL_TIM_Base_Init(&htim17) != HAL_OK)
  {
    Error_Handler();
  }

}

static void MX_USART2_UART_Init(void)
{

  huart2.Instance = USART2;
  huart2.Init.BaudRate = 115200;
  huart2.Init.WordLength = UART_WORDLENGTH_8B;
  huart2.Init.StopBits = UART_STOPBITS_1;
  huart2.Init.Parity = UART_PARITY_NONE;
  huart2.Init.Mode = UART_MODE_TX_RX;
  huart2.Init.HwFlowCtl = UART_HWCONTROL_NONE;
  huart2.Init.OverSampling = UART_OVERSAMPLING_16;
  huart2.Init.OneBitSampling = UART_ONE_BIT_SAMPLE_DISABLE;
  huart2.Init.ClockPrescaler = UART_PRESCALER_DIV1;
  huart2.AdvancedInit.AdvFeatureInit = UART_ADVFEATURE_NO_INIT;
  if (HAL_UART_Init(&huart2) != HAL_OK)
  {
    Error_Handler();
  }
  if (HAL_UARTEx_SetTxFifoThreshold(&huart2, UART_TXFIFO_THRESHOLD_1_8) != HAL_OK)
  {
    Error_Handler();
  }
  if (HAL_UARTEx_SetRxFifoThreshold(&huart2, UART_RXFIFO_THRESHOLD_1_8) != HAL_OK)
  {
    Error_Handler();
  }
  if (HAL_UARTEx_EnableFifoMode(&huart2) != HAL_OK)
  {
    Error_Handler();
  }
  /* USER CODE BEGIN USART2_Init 2 */
	  __HAL_UART_ENABLE_IT(&huart2, UART_IT_RXNE);
  /* USER CODE END USART2_Init 2 */

}

static void MX_DMA_Init(void)
{

  /* DMA controller clock enable */
  __HAL_RCC_DMAMUX1_CLK_ENABLE();
  __HAL_RCC_DMA1_CLK_ENABLE();

  /* DMA interrupt init */
  /* DMA1_Channel1_IRQn interrupt configuration */
  HAL_NVIC_SetPriority(DMA1_Channel1_IRQn, 2, 0);
  HAL_NVIC_EnableIRQ(DMA1_Channel1_IRQn);
  /* DMA1_Channel2_IRQn interrupt configuration */
  HAL_NVIC_SetPriority(DMA1_Channel2_IRQn, 2, 0);
  HAL_NVIC_EnableIRQ(DMA1_Channel2_IRQn);

}

static void MX_GPIO_Init(void)
{
  GPIO_InitTypeDef GPIO_InitStruct = {0};

  /* GPIO Ports Clock Enable */
  __HAL_RCC_GPIOA_CLK_ENABLE();
  __HAL_RCC_GPIOB_CLK_ENABLE();

  /*Configure GPIO pin Output Level */
  HAL_GPIO_WritePin(Enable_GPIO_Port, Enable_Pin, GPIO_PIN_RESET);

  /*Configure GPIO pin Output Level */
  HAL_GPIO_WritePin(GPIOB, Step_Pin|Dir_Pin|LD2_Pin, GPIO_PIN_RESET);

  /*Configure GPIO pin : Enable_Pin */
  GPIO_InitStruct.Pin = Enable_Pin;
  GPIO_InitStruct.Mode = GPIO_MODE_OUTPUT_PP;
  GPIO_InitStruct.Pull = GPIO_NOPULL;
  GPIO_InitStruct.Speed = GPIO_SPEED_FREQ_LOW;
  HAL_GPIO_Init(Enable_GPIO_Port, &GPIO_InitStruct);

  /*Configure GPIO pins : Step_Pin Dir_Pin LD2_Pin */
  GPIO_InitStruct.Pin = Step_Pin|Dir_Pin|LD2_Pin;
  GPIO_InitStruct.Mode = GPIO_MODE_OUTPUT_PP;
  GPIO_InitStruct.Pull = GPIO_NOPULL;
  GPIO_InitStruct.Speed = GPIO_SPEED_FREQ_LOW;
  HAL_GPIO_Init(GPIOB, &GPIO_InitStruct);

}

/* USER CODE BEGIN 4 */

void HAL_ADC_ConvCpltCallback(ADC_HandleTypeDef *hadc){

	/*INFOBOX: (CLICK TO OPEN)
	 * This ADC callback is called after ADC conversion is done.
	 * 1. ADC values are read from RAM via DMA
	 * 2. values are then normalized
	 * 3. then CORDIC is executing angle measurement
	 * 4. redundancy check between both channels
	 */

	ADCresult = getDMAValues(adcVal);			// save raw ADC values from DMA array into struct

	amr_update_minmax(&amr_minmax, ADCresult.SIN1, ADCresult.COS1);
	amr_calib = amr_compute_calibration(&amr_minmax);
	amr_normalized = amr_normalize(ADCresult.SIN1, ADCresult.COS1, &amr_calib);
	amr_angle_deg_raw = amr_calculate_angle(amr_normalized.sin, amr_normalized.cos);
	amr_angle_deg = amr_angle_deg_raw - amr_angle_deg_offset;
  if (amr_angle_deg < 0.0f) {
    amr_angle_deg += 180.0f;
  }

	stepper.amr_angle_deg = amr_angle_deg;

	/* Send telemetry at reduced rate */
	telemetry_counter++;
	if (telemetry_counter >= TELEMETRY_DIVISOR) {
		telemetry_counter = 0;
		telemetry_due = true;
	}
}

void HAL_TIM_PeriodElapsedCallback(TIM_HandleTypeDef *htim){

	/*INFOBOX: (CLICK TO OPEN)
	 * This TIMER callback is called by ISR from TIMER4.
	 * - TIMER 4: toggeling user LED in ERROR-state (every 200ms / 5Hz)
	 */

	if(htim == &htim17){
		if (!stepper.enabled) return;

		if (stepper.mode == MODE_VELOCITY) {
			if (!stepper_can_step(stepper.direction)) {
				stepper_stop();
				return;
			}

			/* Continuous stepping — toggle the STEP pin */
			HAL_GPIO_TogglePin(Step_GPIO_Port, Step_Pin);

			/* Count only on rising edges (every other toggle) */
			static bool step_high = false;
			step_high = !step_high;
			if (step_high) {
				if (!stepper_can_step(stepper.direction)) {
					stepper_stop();
					return;
				}
				stepper.current_pos += stepper.direction;
				stepper_update_motor_angle();
			}
		}
		else if (stepper.mode == MODE_POSITION && stepper.steps_remaining > 0) {
			if (!stepper_can_step(stepper.direction)) {
				stepper_stop();
				return;
			}

			HAL_GPIO_TogglePin(Step_GPIO_Port, Step_Pin);

			static bool pos_step_high = false;
			pos_step_high = !pos_step_high;
			if (pos_step_high) {
				if (!stepper_can_step(stepper.direction)) {
					stepper_stop();
					return;
				}
				stepper.current_pos += stepper.direction;
				stepper.steps_remaining--;
				stepper_update_motor_angle();

				/* Trapezoidal ramp profile */
				int32_t steps_done = stepper.steps_total - stepper.steps_remaining;
				uint16_t cruise_arr = speed_pct_to_arr((uint16_t)abs(stepper.velocity_pct));

				if (stepper.steps_total < RAMP_MIN_STEPS) {
					/* Short move — just go slow */
					stepper.current_arr = RAMP_START_ARR;
				} else if (steps_done < RAMP_ACCEL_STEPS) {
					/* Accelerating */
					float frac = (float)steps_done / RAMP_ACCEL_STEPS;
					stepper.current_arr = (uint16_t)(RAMP_START_ARR - frac * (RAMP_START_ARR - cruise_arr));
				} else if (stepper.steps_remaining < RAMP_ACCEL_STEPS) {
					/* Decelerating */
					float frac = (float)stepper.steps_remaining / RAMP_ACCEL_STEPS;
					stepper.current_arr = (uint16_t)(RAMP_START_ARR - frac * (RAMP_START_ARR - cruise_arr));
				} else {
					stepper.current_arr = cruise_arr;
				}
				__HAL_TIM_SET_AUTORELOAD(&htim17, stepper.current_arr);

				if (stepper.steps_remaining == 0) {
					stepper_stop();
				}
			}
		}
	}

	if (htim == &htim4){
		HAL_GPIO_TogglePin(LD2_GPIO_Port, LD2_Pin);				//toggle Error_LED to visualize error case
	}
}

/* USER CODE END 4 */

void Error_Handler(void)
{
  SEGGER_RTT_printf(0, "Error_Handler called\r\n");
  __disable_irq();
  while (1)
  {
  }
}
